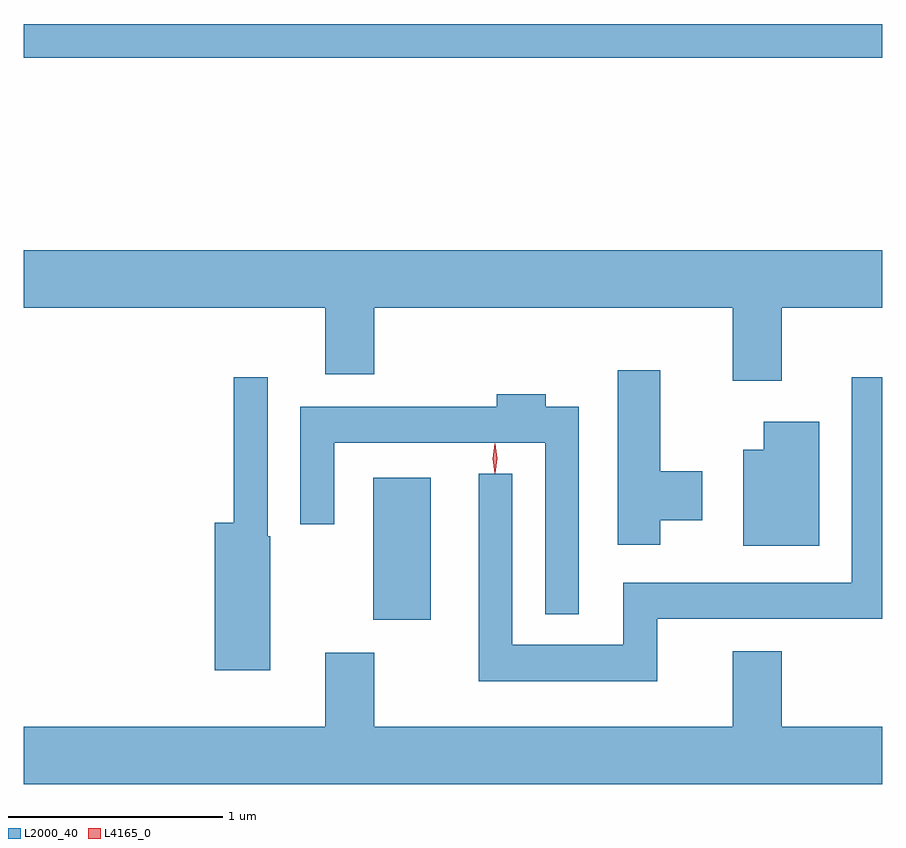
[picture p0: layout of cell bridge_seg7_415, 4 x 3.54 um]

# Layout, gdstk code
import gdstk
lib = gdstk.Library(unit=1e-6, precision=1e-09)
def R(c, l, rs):  # rectangles x0, y0, x1, y1
    for r in rs: c.add(gdstk.rectangle(r[:2], r[2:], *l))
def P(c, l, *ps):  # polygons
    for p in ps: c.add(gdstk.Polygon(p, *l))
L2000_40 = (2000, 40)
L4165_0 = (4165, 0)

bridge_seg7_415 = lib.new_cell('bridge_seg7_415')
R(bridge_seg7_415, L2000_40, [(1084.396,1688.441,1084.664,1689.104), (1082.767,1691.061,1086.767,1691.219)])
P(bridge_seg7_415, L2000_40, [(1086.299,1689.896),(1086.767,1689.896),(1086.767,1690.164),(1082.767,1690.164),(1082.767,1689.896),(1084.171,1689.896),(1084.171,1689.586),(1084.399,1689.586),(1084.399,1689.896),(1086.071,1689.896),(1086.071,1689.556),(1086.299,1689.556)],
  [(1085.734,1688.906),(1085.929,1688.906),(1085.929,1689.134),(1085.734,1689.134),(1085.734,1689.604),(1085.536,1689.604),(1085.536,1688.791),(1085.734,1688.791)],
  [(1083.914,1688.83),(1083.904,1688.83),(1083.904,1689.573),(1083.746,1689.573),(1083.746,1688.894),(1083.656,1688.894),(1083.656,1688.206),(1083.914,1688.206)],
  [(1085.719,1688.446),(1086.767,1688.446),(1086.767,1689.573),(1086.626,1689.573),(1086.626,1688.614),(1085.561,1688.614),(1085.561,1688.324),(1085.044,1688.324),(1085.044,1689.123),(1084.886,1689.123),(1084.886,1688.156),(1085.719,1688.156)],
  [(1085.354,1689.434),(1085.199,1689.434),(1085.199,1689.494),(1084.971,1689.494),(1084.971,1689.434),(1084.056,1689.434),(1084.056,1688.888),(1084.214,1688.888),(1084.214,1689.266),(1085.196,1689.266),(1085.196,1688.468),(1085.354,1688.468)],
  [(1086.474,1689.364),(1086.216,1689.364),(1086.216,1689.234),(1086.121,1689.234),(1086.121,1688.786),(1086.474,1688.786)],
  [(1086.767,1687.944),(1086.299,1687.944),(1086.299,1688.294),(1086.071,1688.294),(1086.071,1687.944),(1084.399,1687.944),(1084.399,1688.289),(1084.171,1688.289),(1084.171,1687.944),(1082.767,1687.944),(1082.767,1687.676),(1086.767,1687.676)])
P(bridge_seg7_415, L4165_0, [(1084.963,1689.127),(1084.954,1689.194),(1084.963,1689.26),(1084.963,1689.26),(1084.964,1689.26),(1084.973,1689.194),(1084.964,1689.127),(1084.964,1689.127)],
  [(1084.963,1689.123),(1084.962,1689.124),(1084.953,1689.193),(1084.962,1689.262),(1084.963,1689.263),(1084.964,1689.262),(1084.973,1689.193),(1084.964,1689.124)])

lib.write_gds('bridge_seg7_415.gds')
